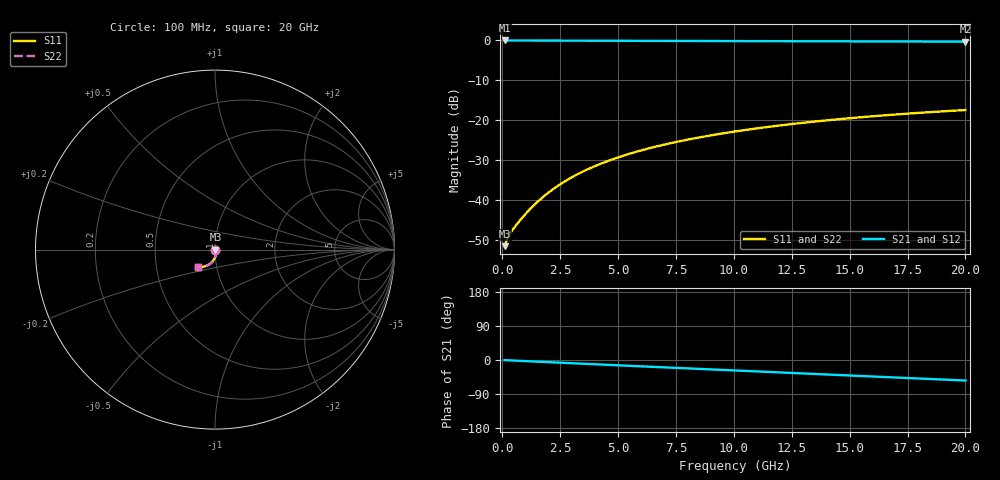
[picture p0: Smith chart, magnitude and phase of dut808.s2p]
! Touchstone file exported from HFSS 2026.1.0
!  File:  C:/ffzhzh/LocalFiles/Ansys_Project_Files/temp_train_TMRDL_808_1783156243_22436.aedt
!  Generated:  05:12:10 PM Jul  4, 2026
!  Design:  TMRDL
!  Project:  temp_train_TMRDL_808_1783156243_22436
! Variables:
!  h_bsmrdl = 2um
!  h_ox = 20um
!  h_rdl = 5um
!  h_sub = 80um
!  h_tmrdl = 5.97um
!  h_tsv = 80um
!  h_via = 3um
!  l_bsmrdl = 300um
!  l_sub = 1375.09um
!  l_tmrdl = 975.09um
!  m_sub = 200um
!  pitch = 31.14um
!  r_tsv = 6um
!  s_tmrdl = 10um
!  w_bsmrdl = 18um
!  w_sub = 500um
!  w_tmrdl = 27.02um
!  x_tsv_center1 = 988.6um
!  x_tsv_center2 = 1306.6um
!  x_tsv_center3 = 2308.71um
!  x_tsv_center4 = 2626.71um
!  x_tsv_center5 = 3628.82um
!  x_tsv_center6 = 3946.82um
# GHz S MA R 50.000000
! Terminal data exported
! Port[1] = TM_RDL1_1_T1
! Port[2] = TM_RDL1_1_T2
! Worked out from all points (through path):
!   200 points, 100 MHz to 20 GHz, reference 50 ohm
!   highest |S21| = -0.02 dB at 100 MHz (marker M1); lowest = -0.3 dB at 20 GHz (marker M2)
!   group delay of S21, straight-line fit = 7.49 ps
!   lowest |S11| = -51.5 dB at 100 MHz (marker M3), VSWR 1.01, Z = 50.3 + j0.0277 ohm
!   |S11| at or under -10 dB: start of sweep to end of sweep
!   |S22| runs from -51.5 to -17.4 dB; largest |S21 - S12| = 3.7e-13
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0.1  0.002649 6.0  0.9974 -0.3  0.9974 -0.3  0.002649 6.0
! Gamma 0 0 0 0
! Port Impedance 50 0 50 0
0.2  0.003238 -0.7  0.9968 -0.6  0.9968 -0.6  0.003238 -0.7
0.3  0.003692 -9.9  0.9963 -0.9  0.9963 -0.9  0.003692 -9.9
0.4  0.004082 -18.2  0.9961 -1.2  0.9961 -1.2  0.004082 -18.2
0.6  0.004863 -31.2  0.9957 -1.8  0.9957 -1.8  0.004864 -31.2
0.9  0.006196 -44.1  0.9953 -2.6  0.9953 -2.6  0.006198 -44.1
1.1  0.007193 -50.0  0.995 -3.2  0.995 -3.2  0.007195 -50.0
1.4  0.008822 -56.4  0.9946 -4.0  0.9946 -4.0  0.008825 -56.3
1.9  0.01182 -63.3  0.9936 -5.5  0.9936 -5.5  0.01182 -63.3
2.4  0.01509 -68.2  0.9926 -6.9  0.9926 -6.9  0.0151 -68.1
2.9  0.01856 -72.0  0.9916 -8.3  0.9916 -8.3  0.01857 -72.0
3.5  0.02291 -75.9  0.9904 -9.9  0.9904 -9.9  0.02293 -75.9
4.2  0.02815 -79.9  0.989 -11.8  0.989 -11.8  0.02817 -79.8
5  0.03424 -84.0  0.9876 -14.0  0.9876 -14.0  0.03426 -83.9
5.9  0.04114 -88.2  0.986 -16.5  0.986 -16.5  0.04116 -88.1
6.8  0.04802 -92.0  0.9846 -18.9  0.9846 -18.9  0.04805 -91.9
8.3  0.05937 -97.8  0.9822 -23.0  0.9822 -23.0  0.05941 -97.7
10.1  0.07265 -104.2  0.9794 -27.8  0.9794 -27.8  0.0727 -104.0
11.7  0.08405 -109.5  0.9768 -32.1  0.9768 -32.1  0.08412 -109.3
13.4  0.09565 -114.9  0.9741 -36.7  0.9741 -36.7  0.09573 -114.7
16.7  0.1164 -124.9  0.9687 -45.4  0.9687 -45.4  0.1165 -124.6
20  0.1342 -134.5  0.9633 -54.2  0.9633 -54.2  0.1344 -134.1
